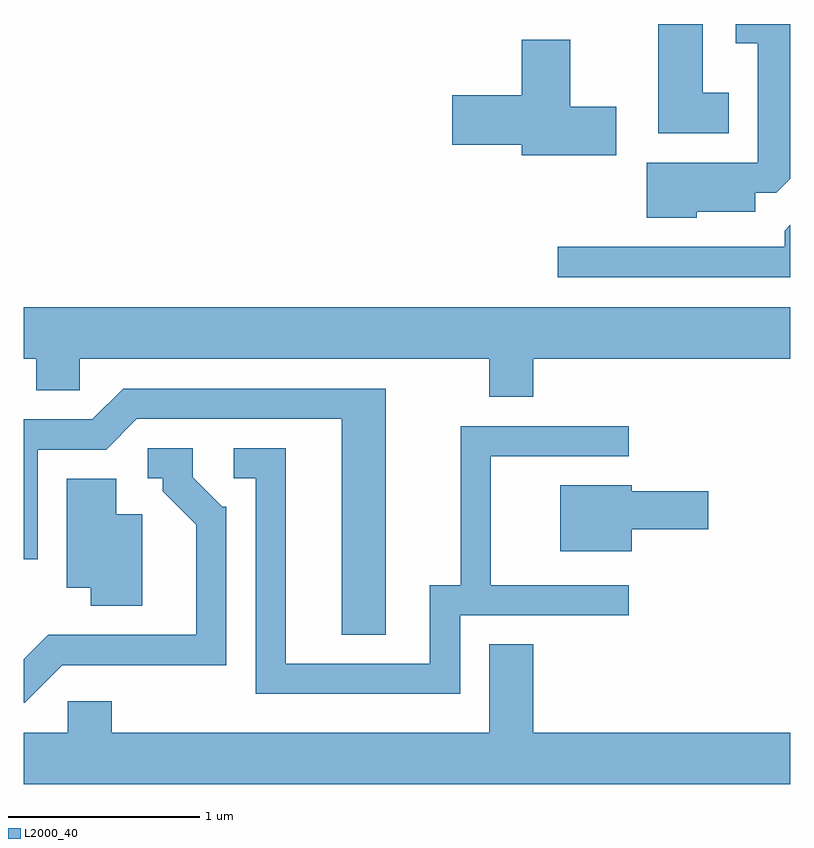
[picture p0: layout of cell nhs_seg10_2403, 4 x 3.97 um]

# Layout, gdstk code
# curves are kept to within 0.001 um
import gdstk
lib = gdstk.Library(unit=1e-6, precision=1e-09)
def P(c, l, *ps):  # polygons
    for p in ps: c.add(gdstk.Polygon(p, *l))
L2000_40 = (2000, 40)

nhs_seg10_2403 = lib.new_cell('nhs_seg10_2403')
P(nhs_seg10_2403, L2000_40, [(259.289,2144.164),(259.154,2144.164),(259.154,2144.522),(258.921,2144.522),(258.921,2143.951),(259.289,2143.951)],
  [(259.124,2143.541),(259.429,2143.541),(259.429,2143.641),(259.539,2143.641),(259.611,2143.714),(259.611,2144.522),(259.326,2144.522),(259.326,2144.421),(259.441,2144.421),(259.441,2143.799),(258.861,2143.799),(258.861,2143.511),(259.124,2143.511)],
  [(258.704,2144.089),(258.464,2144.089),(258.464,2144.439),(258.211,2144.439),(258.211,2144.149),(257.846,2144.149),(257.846,2143.891),(258.211,2143.891),(258.211,2143.836),(258.704,2143.836)],
  [(259.611,2143.474),(259.581,2143.444),(259.581,2143.359),(258.397,2143.359),(258.397,2143.201),(259.611,2143.201)],
  [(258.269,2142.776),(259.611,2142.776),(259.611,2143.044),(255.611,2143.044),(255.611,2142.776),(255.676,2142.776),(255.676,2142.611),(255.904,2142.611),(255.904,2142.776),(258.041,2142.776),(258.041,2142.576),(258.269,2142.576)],
  [(257.499,2142.619),(256.129,2142.619),(255.969,2142.459),(255.611,2142.46),(255.611,2141.728),(255.684,2141.728),(255.684,2142.301),(256.041,2142.301),(256.202,2142.461),(257.271,2142.461),(257.271,2141.336),(257.499,2141.336)],
  [(257.889,2141.436),(258.767,2141.436),(258.767,2141.594),(258.049,2141.594),(258.049,2142.266),(258.767,2142.266),(258.767,2142.424),(257.891,2142.424),(257.891,2141.594),(257.731,2141.594),(257.731,2141.184),(256.979,2141.184),(256.979,2142.309),(256.707,2142.309),(256.707,2142.151),(256.821,2142.151),(256.821,2141.026),(257.889,2141.026)],
  [(255.812,2141.176),(256.669,2141.176),(256.669,2142.004),(256.647,2142.004),(256.494,2142.157),(256.494,2142.309),(256.258,2142.309),(256.258,2142.151),(256.336,2142.151),(256.336,2142.084),(256.511,2141.909),(256.511,2141.334),(255.739,2141.334),(255.611,2141.206),(255.611,2140.981),(255.617,2140.981)],
  [(256.229,2141.964),(256.094,2141.964),(256.094,2142.149),(255.836,2142.149),(255.836,2141.581),(255.961,2141.581),(255.961,2141.486),(256.229,2141.486)],
  [(258.784,2141.886),(259.184,2141.886),(259.184,2142.084),(258.784,2142.084),(258.784,2142.114),(258.411,2142.114),(258.411,2141.771),(258.784,2141.771)],
  [(259.611,2140.824),(258.269,2140.824),(258.269,2141.284),(258.041,2141.284),(258.041,2140.824),(256.069,2140.824),(256.069,2140.989),(255.841,2140.989),(255.841,2140.824),(255.611,2140.824),(255.611,2140.556),(259.611,2140.556)])

lib.write_gds('nhs_seg10_2403.gds')
